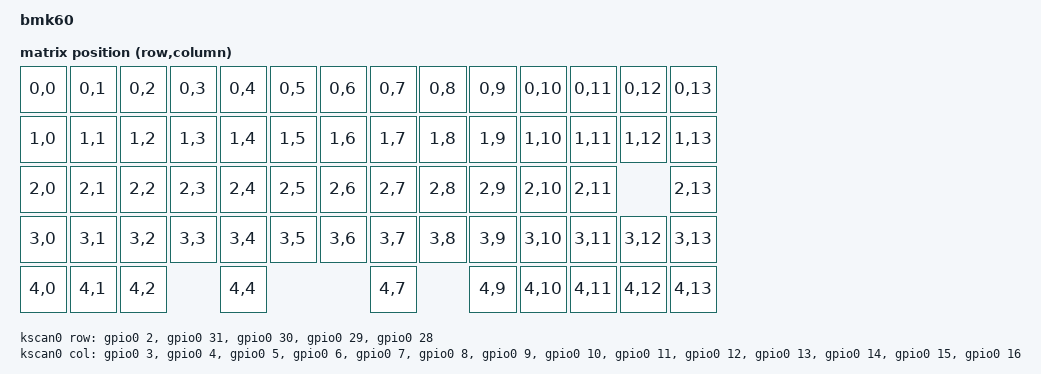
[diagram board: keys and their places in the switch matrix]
/*
 * Copyright (c) 2021 Nick Winans
 *
 * SPDX-License-Identifier: MIT
 */

/dts-v1/;
#include <nordic/nrf52840_qiaa.dtsi>
#include <dt-bindings/zmk/matrix_transform.h>

/ {
	model = "bmk60";
	compatible = "bmk,bmk60";

	chosen {
		zephyr,code-partition = &code_partition;
		zephyr,sram = &sram0;
		zephyr,flash = &flash0;
		zmk,kscan = &kscan0;
		zmk,matrix_transform = &default_transform;
		zmk,battery = &vbatt;
	};

	default_transform: keymap_transform_0 {
		compatible = "zmk,matrix-transform";
		columns = <14>;
		rows = <5>;
		map = <
RC(0,0) RC(0,1) RC(0,2) RC(0,3) RC(0,4) RC(0,5) RC(0,6) RC(0,7) RC(0,8) RC(0,9) RC(0,10) RC(0,11) RC(0,12) RC(0,13) 
RC(1,0) RC(1,1) RC(1,2) RC(1,3) RC(1,4) RC(1,5) RC(1,6) RC(1,7) RC(1,8) RC(1,9) RC(1,10) RC(1,11) RC(1,12) RC(1,13) 
RC(2,0) RC(2,1) RC(2,2) RC(2,3) RC(2,4) RC(2,5) RC(2,6) RC(2,7) RC(2,8) RC(2,9) RC(2,10) RC(2,11)          RC(2,13) 
RC(3,0) RC(3,1) RC(3,2) RC(3,3) RC(3,4) RC(3,5) RC(3,6) RC(3,7) RC(3,8) RC(3,9) RC(3,10) RC(3,11) RC(3,12) RC(3,13) 
RC(4,0) RC(4,1) RC(4,2)         RC(4,4)                 RC(4,7)         RC(4,9) RC(4,10) RC(4,11) RC(4,12) RC(4,13) 
		>;
	};

	kscan0: kscan {
		compatible = "zmk,kscan-gpio-matrix";
		label = "KSCAN";

		diode-direction = "row2col";
		row-gpios
			= <&gpio0 2 GPIO_ACTIVE_HIGH>
			, <&gpio0 31 GPIO_ACTIVE_HIGH>
			, <&gpio0 30 GPIO_ACTIVE_HIGH>
			, <&gpio0 29 GPIO_ACTIVE_HIGH>
			, <&gpio0 28 GPIO_ACTIVE_HIGH>
			;
		col-gpios
			= <&gpio0 3 (GPIO_ACTIVE_HIGH | GPIO_PULL_DOWN)>
			, <&gpio0 4 (GPIO_ACTIVE_HIGH | GPIO_PULL_DOWN)>
			, <&gpio0 5 (GPIO_ACTIVE_HIGH | GPIO_PULL_DOWN)>
			, <&gpio0 6 (GPIO_ACTIVE_HIGH | GPIO_PULL_DOWN)>
			, <&gpio0 7 (GPIO_ACTIVE_HIGH | GPIO_PULL_DOWN)>
			, <&gpio0 8 (GPIO_ACTIVE_HIGH | GPIO_PULL_DOWN)>
			, <&gpio0 9 (GPIO_ACTIVE_HIGH | GPIO_PULL_DOWN)>
			, <&gpio0 10 (GPIO_ACTIVE_HIGH | GPIO_PULL_DOWN)>
			, <&gpio0 11 (GPIO_ACTIVE_HIGH | GPIO_PULL_DOWN)>
			, <&gpio0 12 (GPIO_ACTIVE_HIGH | GPIO_PULL_DOWN)>
			, <&gpio0 13 (GPIO_ACTIVE_HIGH | GPIO_PULL_DOWN)>
			, <&gpio0 14 (GPIO_ACTIVE_HIGH | GPIO_PULL_DOWN)>
			, <&gpio0 15 (GPIO_ACTIVE_HIGH | GPIO_PULL_DOWN)>
			, <&gpio0 16 (GPIO_ACTIVE_HIGH | GPIO_PULL_DOWN)>
			;
	};

	leds {
		compatible = "gpio-leds";
		blue_led: led_0 {
			gpios = <&gpio0 17 GPIO_ACTIVE_HIGH>;
			label = "Blue LED";
		};
	};

	/* 
	ext-power {
		compatible = "zmk,ext-power-generic";
		label = "EXT_POWER";
		control-gpios = <&gpio0 5 GPIO_ACTIVE_LOW>;
	};
	*/


	vbatt: vbatt {
		compatible = "zmk,battery-nrf-vddh";
		label = "BATTERY";
	};

};

&adc {
	status = "okay";
};

&gpiote {
	status = "okay";
};

&gpio0 {
	status = "okay";
};

&gpio1 {
	status = "okay";
};


&usbd {
	status = "okay";
};

&flash0 {
	/*
	 * For more information, see:
	 * http://docs.zephyrproject.org/latest/devices/dts/flash_partitions.html
	 */
	partitions {
		compatible = "fixed-partitions";
		#address-cells = <1>;
		#size-cells = <1>;

		sd_partition: partition@0 {
			label = "mbr";
			reg = <0x00000000 0x00001000>;
		};

		code_partition: partition@1000 {
			label = "code_partition";
			reg = <0x00001000 0x000d3000>;
		};

		/*
		 * The flash starting at 0x000d4000 and ending at
		 * 0x000f3fff is reserved for use by the application.
		 */

		/*
		 * Storage partition will be used by FCB/LittleFS/NVS
		 * if enabled.
		 */
		storage_partition: partition@d4000 {
			label = "storage";
			reg = <0x000d4000 0x00020000>;
		};

		boot_partition: partition@f4000 {
			label = "adafruit_boot";
			reg = <0x000f4000 0x0000c000>;
		};
	};
};
